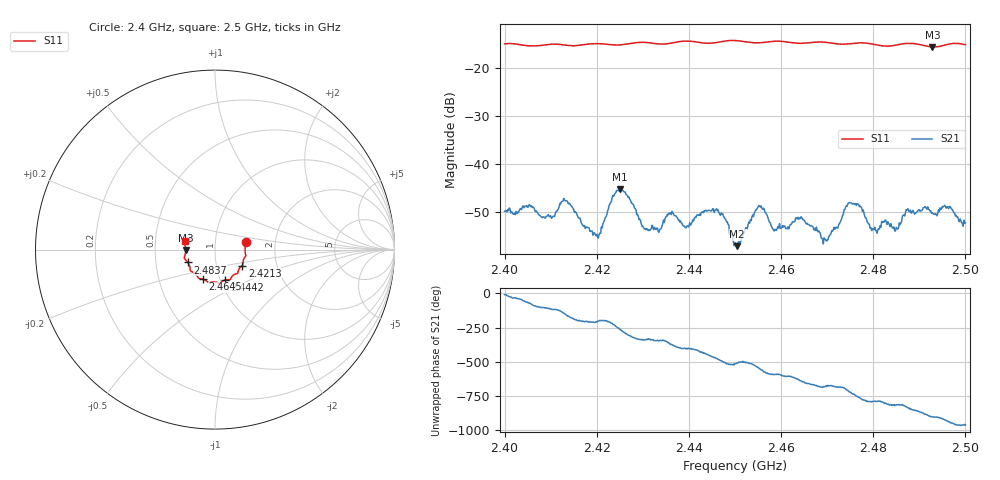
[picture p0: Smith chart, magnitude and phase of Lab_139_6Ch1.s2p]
# Hz S RI R 50
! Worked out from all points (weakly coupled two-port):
!   601 points, 2.4 GHz to 2.5 GHz, reference 50 ohm
!   highest |S21| = -45.23 dB at 2.425 GHz (marker M1); lowest = -57.1 dB at 2.4505 GHz (marker M2)
!   lowest |S11| = -15.7 dB at 2.4928 GHz (marker M3), VSWR 1.39, Z = 36 - j0.369 ohm
!   |S11| at or under -10 dB: start of sweep to end of sweep
!   S12 and S22 are empty: the file has one direction only
!   S11 on the Smith chart (normalised r, x): 2.4 GHz: 1.41, +0.12; 2.4213 GHz: 1.33, -0.25; 2.4442 GHz: 1.05, -0.37; 2.4645 GHz: 0.83, -0.29; 2.4837 GHz: 0.73, -0.11; 2.5 GHz: 0.71, +0.07
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2.4e9  0.1715 0.04  0.00318 -0.000443  0 0  0 0
2.410333e9  0.1721 -0.0308  -0.00129 -0.00244  0 0  0 0
2.413167e9  0.1654 -0.0436  -0.00366 -0.0019  0 0  0 0
2.416667e9  0.1569 -0.0697  -0.00221 0.000913  0 0  0 0
2.421333e9  0.1517 -0.0897  -0.00227 0.000729  0 0  0 0
2.425e9  0.1342 -0.1072  -0.000661 0.00543  0 0  0 0
2.433333e9  0.1083 -0.1384  0.00194 0.000466  0 0  0 0
2.444167e9  0.0564 -0.1695  -2.85e-05 -0.00326  0 0  0 0
2.4475e9  0.0325 -0.1843  -0.00231 -0.00166  0 0  0 0
2.45e9  0.025 -0.1891  -0.00137 -0.000644  0 0  0 0
2.4505e9  0.0239 -0.1882  -0.00119 -0.000719  0 0  0 0
2.455167e9  -0.00953 -0.1804  -0.00365 0.000483  0 0  0 0
2.4585e9  -0.0304 -0.185  -0.00119 0.00161  0 0  0 0
2.4645e9  -0.0658 -0.1659  0.0007 0.00267  0 0  0 0
2.466667e9  -0.0826 -0.1621  0.00142 0.00176  0 0  0 0
2.469667e9  -0.0931 -0.1573  0.00123 0.00107  0 0  0 0
2.475167e9  -0.1243 -0.1258  0.00389 -0.000527  0 0  0 0
2.479667e9  -0.1385 -0.1085  0.000476 -0.00197  0 0  0 0
2.483333e9  -0.149 -0.075  -0.000128 -0.0024  0 0  0 0
2.483667e9  -0.151 -0.0718  -0.000308 -0.0022  0 0  0 0
2.492833e9  -0.1634 -0.00499  -0.00309 0.00033  0 0  0 0
2.5e9  -0.1651 0.0505  -0.00102 0.00222  0 0  0 0
